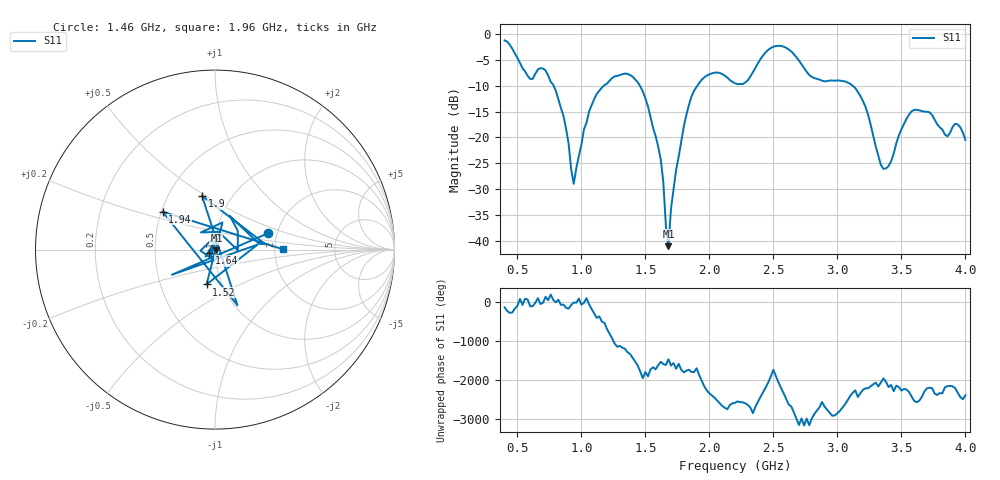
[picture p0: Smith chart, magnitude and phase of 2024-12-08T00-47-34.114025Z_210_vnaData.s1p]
!Created with skrf (http://scikit-rf.org).
# Hz S RI R 50.0
!freq ReS11 ImS11
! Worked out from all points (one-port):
!   181 points, 400 MHz to 4 GHz, reference 50 ohm
!   lowest |S11| = -41.0 dB at 1.68 GHz (marker M1), VSWR 1.02, Z = 50.8 - j0.41 ohm
!   |S11| at or under -10 dB: 782.8 MHz to 1.176 GHz (393 MHz wide, 40.1 % of centre); 1.457 GHz to 1.906 GHz (449.5 MHz wide, 26.7 % of centre); 3.118 GHz to end of sweep
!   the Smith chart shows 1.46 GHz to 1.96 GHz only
!   S11 on the Smith chart (normalised r, x): 1.46 GHz: 1.80, +0.37; 1.52 GHz: 0.85, -0.34; 1.64 GHz: 0.94, -0.04; 1.9 GHz: 0.73, +0.48; 1.94 GHz: 0.51, +0.25; 1.96 GHz: 2.23, +0.01
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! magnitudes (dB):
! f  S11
! 400 MHz  -1.3
! 600 MHz  -8.7
! 720 MHz  -7.1
! 860 MHz  -15.9
! 940 MHz  -29.0
! 1.02 GHz  -18.4
! 1.1 GHz  -12.6
! 1.3 GHz  -8.0
! 1.46 GHz  -10.1
! 1.52 GHz  -14.0
! 1.64 GHz  -28.6
! 1.68 GHz  -41.0
! 1.7 GHz  -33.8
! 1.76 GHz  -23.7
! 1.9 GHz  -10.2
! 1.94 GHz  -8.9
! 1.96 GHz  -8.4
! 2.2 GHz  -9.5
! 2.5 GHz  -2.5
! 2.66 GHz  -3.9
! 2.8 GHz  -8.3
! 3.1 GHz  -9.6
! 3.22 GHz  -14.1
! 3.36 GHz  -26.1
! 3.56 GHz  -15.6
! 3.86 GHz  -19.8
! 3.94 GHz  -17.5
! 4 GHz  -20.5
